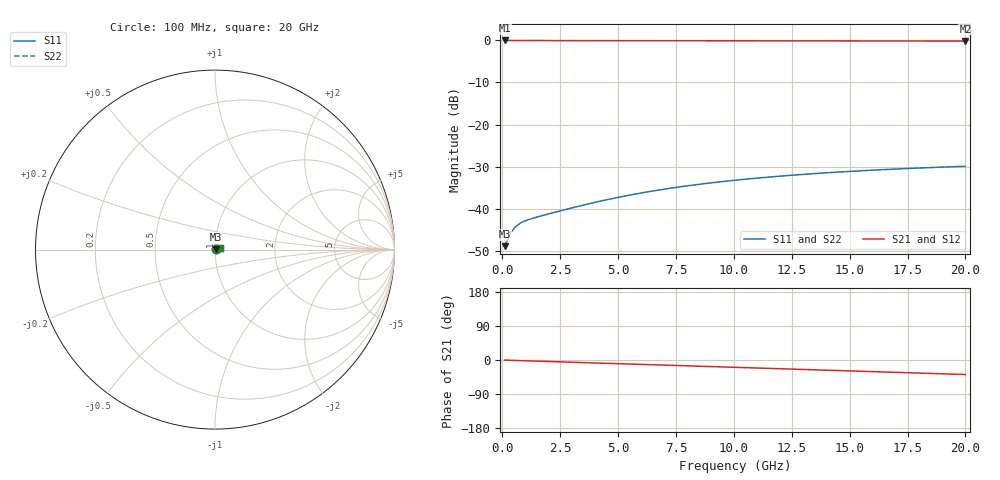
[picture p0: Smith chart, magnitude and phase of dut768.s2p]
! Touchstone file exported from HFSS 2026.1.0
!  File:  C:/ffzhzh/LocalFiles/Ansys_Project_Files/temp_train_BSMRDL_768_1783169142_55132.aedt
!  Generated:  08:46:52 PM Jul  4, 2026
!  Design:  BSMRDL
!  Project:  temp_train_BSMRDL_768_1783169142_55132
! Variables:
!  h_bsmrdl = 2.67um
!  h_ox = 20um
!  h_rdl = 5um
!  h_sub = 80um
!  h_tmrdl = 5um
!  h_tsv = 80um
!  h_via = 3um
!  l_bsmrdl = 672.01um
!  l_sub = 1072.01um
!  l_tmrdl = 200um
!  m_sub = 200um
!  pitch = 33.03um
!  r_tsv = 6um
!  s_tmrdl = 10um
!  w_bsmrdl = 28.55um
!  w_sub = 500um
!  w_tmrdl = 12um
!  x_tsv_center1 = 206um
!  x_tsv_center2 = 906.56um
!  x_tsv_center3 = 1118.56um
!  x_tsv_center4 = 1819.12um
!  x_tsv_center5 = 2031.12um
!  x_tsv_center6 = 2731.68um
# GHz S MA R 50.000000
! Terminal data exported
! Port[1] = BSM_RDL1_1_T1
! Port[2] = BSM_RDL1_1_T2
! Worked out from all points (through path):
!   200 points, 100 MHz to 20 GHz, reference 50 ohm
!   highest |S21| = -0.03 dB at 100 MHz (marker M1); lowest = -0.2 dB at 20 GHz (marker M2)
!   group delay of S21, straight-line fit = 5.31 ps
!   lowest |S11| = -48.8 dB at 100 MHz (marker M3), VSWR 1.01, Z = 50.4 + j0.0868 ohm
!   |S11| at or under -10 dB: start of sweep to end of sweep
!   |S22| runs from -48.8 to -29.9 dB; largest |S21 - S12| = 3.2e-15
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0.1  0.003617 13.8  0.9965 -0.2  0.9965 -0.2  0.003617 13.8
! Gamma 0 0 0 0
! Port Impedance 50 0 50 0
0.3  0.004798 26.6  0.9957 -0.7  0.9957 -0.7  0.004798 26.6
0.4  0.005371 28.1  0.9953 -0.9  0.9953 -0.9  0.005371 28.1
0.5  0.00585 28.4  0.9949 -1.1  0.9949 -1.1  0.00585 28.4
0.6  0.006238 28.4  0.9946 -1.3  0.9946 -1.3  0.006238 28.4
0.7  0.006555 28.2  0.9943 -1.5  0.9943 -1.5  0.006554 28.2
0.8  0.006817 28.2  0.9941 -1.7  0.9941 -1.7  0.006816 28.2
1.1  0.007411 28.6  0.9937 -2.2  0.9937 -2.2  0.007411 28.6
1.5  0.00802 30.2  0.9933 -3.0  0.9933 -3.0  0.00802 30.2
2.5  0.00948 35.3  0.9928 -4.9  0.9928 -4.9  0.00948 35.3
3.5  0.0111 39.0  0.9922 -6.9  0.9922 -6.9  0.0111 39.0
4.3  0.01248 40.7  0.9918 -8.4  0.9918 -8.4  0.01248 40.7
5.1  0.01389 41.5  0.9913 -10.0  0.9913 -10.0  0.01389 41.5
5.9  0.01529 41.7  0.9907 -11.5  0.9907 -11.5  0.01529 41.7
6.8  0.01684 41.2  0.99 -13.3  0.99 -13.3  0.01684 41.2
8.4  0.01944 39.4  0.9888 -16.3  0.9888 -16.3  0.01944 39.4
10.1  0.02197 36.8  0.9874 -19.6  0.9874 -19.6  0.02197 36.8
11.7  0.02412 33.9  0.9862 -22.6  0.9862 -22.6  0.02412 33.9
13.4  0.02616 30.7  0.9849 -25.9  0.9849 -25.9  0.02616 30.7
15  0.02788 27.7  0.9837 -28.9  0.9837 -28.9  0.02787 27.6
16.7  0.02949 24.4  0.9825 -32.1  0.9825 -32.1  0.02949 24.4
20  0.03207 18.1  0.9805 -38.3  0.9805 -38.3  0.03207 18.1
